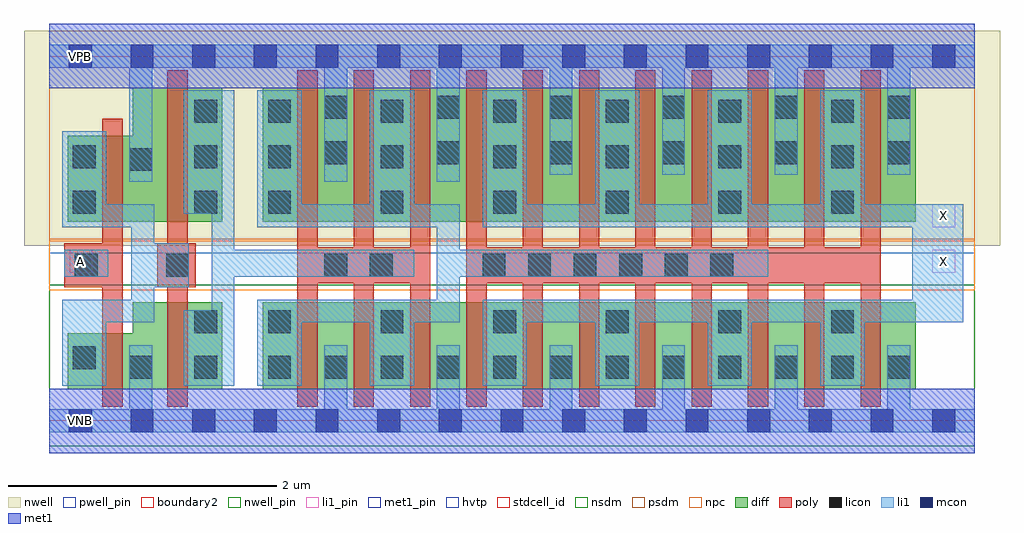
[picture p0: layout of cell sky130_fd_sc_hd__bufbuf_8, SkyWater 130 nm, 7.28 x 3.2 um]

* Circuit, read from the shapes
.subckt sky130_fd_sc_hd__bufbuf_8 A VGND VNB VPB VPWR X
XM1 VGND A n1 VNB sky130_fd_pr__nfet_01v8 w=0.42 l=0.15
XM2 n2 n1 VGND VNB sky130_fd_pr__nfet_01v8 w=0.65 l=0.15
XM3 VGND n2 n3 VNB sky130_fd_pr__nfet_01v8 w=0.65 l=0.15 m=3
XM4 X n3 VGND VNB sky130_fd_pr__nfet_01v8 w=0.65 l=0.15 m=8
XM5 VPWR A n1 VPB sky130_fd_pr__pfet_01v8_hvt w=0.64 l=0.15
XM6 n2 n1 VPWR VPB sky130_fd_pr__pfet_01v8_hvt w=1 l=0.15
XM7 VPWR n2 n3 VPB sky130_fd_pr__pfet_01v8_hvt w=1 l=0.15 m=3
XM8 X n3 VPWR VPB sky130_fd_pr__pfet_01v8_hvt w=1 l=0.15 m=8
.ends

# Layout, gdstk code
import gdstk
lib = gdstk.Library(unit=1e-6, precision=1e-09)
def R(c, l, rs):  # rectangles x0, y0, x1, y1
    for r in rs: c.add(gdstk.rectangle(r[:2], r[2:], *l))
def A(c, l, x, y, w, h, nx, ny, dx, dy):  # array of equal rectangles
    R(c, l, [(x+i*dx, y+j*dy, x+i*dx+w, y+j*dy+h) for i in range(nx) for j in range(ny)])
def P(c, l, *ps):  # polygons
    for p in ps: c.add(gdstk.Polygon(p, *l))
nwell_pin = (64, 16)
nwell = (64, 20)
diff = (65, 20)
poly = (66, 20)
licon = (66, 44)
li1_pin = (67, 16)
li1 = (67, 20)
mcon = (67, 44)
met1_pin = (68, 16)
met1 = (68, 20)
hvtp = (78, 44)
stdcell_id = (81, 4)
nsdm = (93, 44)
psdm = (94, 20)
npc = (95, 20)
pwell_pin = (122, 16)
boundary2 = (236, 0)

sky130_fd_sc_hd__bufbuf_ = lib.new_cell('sky130_fd_sc_hd__bufbuf_8')
R(sky130_fd_sc_hd__bufbuf_, nwell_pin, [(0.15,2.635,0.32,2.805)])
R(sky130_fd_sc_hd__bufbuf_, nwell, [(-0.19,1.305,7.09,2.91)])
R(sky130_fd_sc_hd__bufbuf_, diff, [(1.59,0.235,6.46,0.885), (1.59,1.485,6.46,2.485)])
P(sky130_fd_sc_hd__bufbuf_, diff, [(1.29,2.485),(0.62,2.485),(0.62,2.125),(0.135,2.125),(0.135,1.485),(1.29,1.485)],
  [(1.29,0.885),(0.62,0.885),(0.62,0.655),(0.135,0.655),(0.135,0.235),(1.29,0.235)])
P(sky130_fd_sc_hd__bufbuf_, poly, [(0.545,2.255),(0.395,2.255),(0.395,1.325),(0.11,1.325),(0.11,0.995),(0.395,0.995),(0.395,0.105),(0.545,0.105)],
  [(1.09,1.325),(1.03,1.325),(1.03,2.615),(0.88,2.615),(0.88,1.325),(0.805,1.325),(0.805,0.995),(0.88,0.995),(0.88,0.105),(1.03,0.105),(1.03,0.995),(1.09,0.995)],
  [(2.84,2.615),(2.69,2.615),(2.69,1.295),(2.42,1.295),(2.42,2.615),(2.27,2.615),(2.27,1.295),(2,1.295),(2,2.615),(1.85,2.615),(1.85,0.105),(2,0.105),(2,1.025),(2.27,1.025),(2.27,0.105),(2.42,0.105),(2.42,1.025),(2.69,1.025),(2.69,0.105),(2.84,0.105)],
  [(6.2,2.615),(6.05,2.615),(6.05,1.295),(5.78,1.295),(5.78,2.615),(5.63,2.615),(5.63,1.295),(5.36,1.295),(5.36,2.615),(5.21,2.615),(5.21,1.295),(4.94,1.295),(4.94,2.615),(4.79,2.615),(4.79,1.295),(4.52,1.295),(4.52,2.615),(4.37,2.615),(4.37,1.295),(4.1,1.295),(4.1,2.615),(3.95,2.615),(3.95,1.295),(3.68,1.295),(3.68,2.615),(3.53,2.615),(3.53,1.295),(3.26,1.295),(3.26,2.615),(3.11,2.615),(3.11,0.105),(3.26,0.105),(3.26,1.025),(3.53,1.025),(3.53,0.105),(3.68,0.105),(3.68,1.025),(3.95,1.025),(3.95,0.105),(4.1,0.105),(4.1,1.025),(4.37,1.025),(4.37,0.105),(4.52,0.105),(4.52,1.025),(4.79,1.025),(4.79,0.105),(4.94,0.105),(4.94,1.025),(5.21,1.025),(5.21,0.105),(5.36,0.105),(5.36,1.025),(5.63,1.025),(5.63,0.105),(5.78,0.105),(5.78,1.025),(6.05,1.025),(6.05,0.105),(6.2,0.105)])
A(sky130_fd_sc_hd__bufbuf_, licon, 1.63, 0.315, 0.17, 0.17, 12, 1, 0.42, 0)
A(sky130_fd_sc_hd__bufbuf_, licon, 1.63, 0.655, 0.17, 0.17, 6, 2, 0.84, 0.89)
A(sky130_fd_sc_hd__bufbuf_, licon, 3.23, 1.075, 0.17, 0.17, 6, 1, 0.34, 0)
A(sky130_fd_sc_hd__bufbuf_, licon, 1.08, 1.545, 0.17, 0.17, 1, 3, 0, 0.34)
A(sky130_fd_sc_hd__bufbuf_, licon, 1.63, 1.885, 0.17, 0.17, 6, 2, 0.84, 0.34)
A(sky130_fd_sc_hd__bufbuf_, licon, 2.05, 1.915, 0.17, 0.17, 6, 2, 0.84, 0.34)
R(sky130_fd_sc_hd__bufbuf_, licon, [(0.595,0.315,0.765,0.485), (1.08,0.315,1.25,0.485), (0.175,0.385,0.345,0.555), (1.08,0.655,1.25,0.825), (0.19,1.075,0.36,1.245), (0.87,1.075,1.04,1.245), (2.05,1.075,2.22,1.245), (2.39,1.075,2.56,1.245), (0.175,1.545,0.345,1.715), (0.595,1.865,0.765,2.035), (0.175,1.885,0.345,2.055)])
R(sky130_fd_sc_hd__bufbuf_, li1_pin, [(0.15,1.105,0.32,1.275), (6.585,1.105,6.755,1.275), (6.585,1.445,6.755,1.615)])
R(sky130_fd_sc_hd__bufbuf_, li1, [(0.11,1.075,0.44,1.275)])
P(sky130_fd_sc_hd__bufbuf_, li1, [(1.04,1.325),(0.78,1.325),(0.78,1.615),(0.425,1.615),(0.425,2.16),(0.095,2.16),(0.095,1.445),(0.61,1.445),(0.61,0.905),(0.095,0.905),(0.095,0.26),(0.425,0.26),(0.425,0.735),(0.78,0.735),(0.78,0.995),(1.04,0.995)],
  [(6.9,0.085),(6.42,0.085),(6.42,0.565),(6.25,0.565),(6.25,0.085),(5.58,0.085),(5.58,0.565),(5.41,0.565),(5.41,0.085),(4.74,0.085),(4.74,0.565),(4.57,0.565),(4.57,0.085),(3.9,0.085),(3.9,0.565),(3.73,0.565),(3.73,0.085),(3.06,0.085),(3.06,0.565),(2.89,0.565),(2.89,0.085),(2.22,0.085),(2.22,0.565),(2.05,0.565),(2.05,0.085),(0.765,0.085),(0.765,0.565),(0.595,0.565),(0.595,0.085),(0,0.085),(0,-0.085),(6.9,-0.085)],
  [(6.9,2.805),(0,2.805),(0,2.635),(0.595,2.635),(0.595,1.785),(0.765,1.785),(0.765,2.635),(2.05,2.635),(2.05,1.785),(2.22,1.785),(2.22,2.635),(2.89,2.635),(2.89,1.785),(3.06,1.785),(3.06,2.635),(3.73,2.635),(3.73,1.835),(3.9,1.835),(3.9,2.635),(4.57,2.635),(4.57,1.835),(4.74,1.835),(4.74,2.635),(5.41,2.635),(5.41,1.835),(5.58,1.835),(5.58,2.635),(6.25,2.635),(6.25,1.835),(6.42,1.835),(6.42,2.635),(6.9,2.635)],
  [(2.72,1.275),(1.38,1.275),(1.38,2.465),(1,2.465),(1,1.545),(1.21,1.545),(1.21,0.825),(1,0.825),(1,0.26),(1.38,0.26),(1.38,1.075),(2.72,1.075)],
  [(5.36,1.275),(3.06,1.275),(3.06,1.615),(2.72,1.615),(2.72,2.465),(2.39,2.465),(2.39,1.615),(1.88,1.615),(1.88,2.465),(1.55,2.465),(1.55,1.445),(2.89,1.445),(2.89,0.905),(1.55,0.905),(1.55,0.26),(1.88,0.26),(1.88,0.735),(2.39,0.735),(2.39,0.26),(2.72,0.26),(2.72,0.735),(3.06,0.735),(3.06,1.075),(5.36,1.075)],
  [(6.815,1.615),(6.08,1.615),(6.08,2.465),(5.75,2.465),(5.75,1.615),(5.24,1.615),(5.24,2.465),(4.91,2.465),(4.91,1.615),(4.4,1.615),(4.4,2.465),(4.07,2.465),(4.07,1.615),(3.56,1.615),(3.56,2.465),(3.23,2.465),(3.23,1.445),(6.435,1.445),(6.435,0.905),(3.23,0.905),(3.23,0.26),(3.56,0.26),(3.56,0.735),(4.07,0.735),(4.07,0.26),(4.4,0.26),(4.4,0.735),(4.91,0.735),(4.91,0.26),(5.24,0.26),(5.24,0.735),(5.75,0.735),(5.75,0.26),(6.08,0.26),(6.08,0.735),(6.815,0.735)])
A(sky130_fd_sc_hd__bufbuf_, mcon, 0.145, -0.085, 0.17, 0.17, 15, 2, 0.46, 2.72)
R(sky130_fd_sc_hd__bufbuf_, met1_pin, [(0.15,-0.085,0.32,0.085), (0.15,2.635,0.32,2.805)])
R(sky130_fd_sc_hd__bufbuf_, hvtp, [(0,1.25,6.9,2.72)])
R(sky130_fd_sc_hd__bufbuf_, stdcell_id, [(0,0,6.9,2.72)])
R(sky130_fd_sc_hd__bufbuf_, nsdm, [(0,-0.19,6.9,1.015)])
R(sky130_fd_sc_hd__bufbuf_, psdm, [(0,1.355,6.9,2.91)])
R(sky130_fd_sc_hd__bufbuf_, npc, [(0,0.975,6.9,1.345)])
R(sky130_fd_sc_hd__bufbuf_, pwell_pin, [(0.15,-0.085,0.32,0.085)])
R(sky130_fd_sc_hd__bufbuf_, boundary2, [(0,0,6.9,2.72)])
sky130_fd_sc_hd__bufbuf_.add(gdstk.FlexPath([(0,2.72),(6.9,2.72)], 0.48, ends="flush", simple_path=True, layer=68, datatype=20))  # met1
sky130_fd_sc_hd__bufbuf_.add(gdstk.FlexPath([(0,0),(6.9,0)], 0.48, ends="flush", simple_path=True, layer=68, datatype=20))  # met1
sky130_fd_sc_hd__bufbuf_.add(gdstk.Label('A', (0.235,1.19), layer=67, texttype=5))
sky130_fd_sc_hd__bufbuf_.add(gdstk.Label('X', (6.67,1.19), layer=67, texttype=5))
sky130_fd_sc_hd__bufbuf_.add(gdstk.Label('X', (6.67,1.53), layer=67, texttype=5))
sky130_fd_sc_hd__bufbuf_.add(gdstk.Label('VNB', (0.235,0), layer=64, texttype=59))
sky130_fd_sc_hd__bufbuf_.add(gdstk.Label('VPB', (0.235,2.72), layer=64, texttype=5))
sky130_fd_sc_hd__bufbuf_.add(gdstk.Label('VGND', (0.23,0), layer=68, texttype=5))
sky130_fd_sc_hd__bufbuf_.add(gdstk.Label('VPWR', (0.235,2.72), layer=68, texttype=5))
sky130_fd_sc_hd__bufbuf_.add(gdstk.Label('bufbuf_8', (0,0), layer=83, texttype=44))

lib.write_gds('sky130_fd_sc_hd__bufbuf_8.gds')
